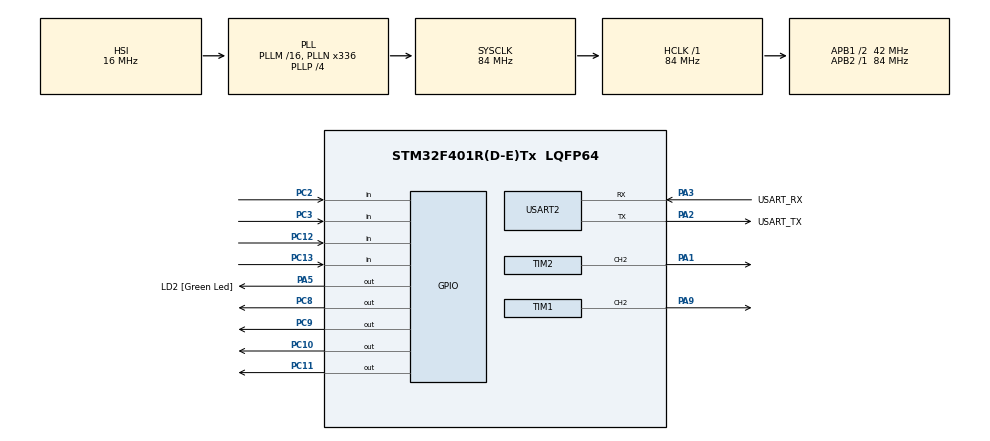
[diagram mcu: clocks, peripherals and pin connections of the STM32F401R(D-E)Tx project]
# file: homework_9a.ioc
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Mcu.Family=STM32F4
Mcu.Name=STM32F401R(D-E)Tx
Mcu.Package=LQFP64
NVIC.PriorityGroup=NVIC_PRIORITYGROUP_0
NVIC.TIM2_IRQn=true\:0\:0\:false\:false\:true\:true\:true\:true
PA1.Signal=S_TIM2_CH2
PA13.GPIO_Label=TMS
PA13.Mode=Serial_Wire
PA13.Signal=SYS_JTMS-SWDIO
PA14.GPIO_Label=TCK
PA14.Mode=Serial_Wire
PA14.Signal=SYS_JTCK-SWCLK
PA2.GPIO_Label=USART_TX
PA2.GPIO_Mode=GPIO_MODE_AF_PP
PA2.GPIO_PuPd=GPIO_NOPULL
PA2.GPIO_Speed=GPIO_SPEED_FREQ_LOW
PA2.Mode=Asynchronous
PA2.Signal=USART2_TX
PA3.GPIO_Label=USART_RX
PA3.GPIO_Mode=GPIO_MODE_AF_PP
PA3.GPIO_PuPd=GPIO_NOPULL
PA3.GPIO_Speed=GPIO_SPEED_FREQ_LOW
PA3.Mode=Asynchronous
PA3.Signal=USART2_RX
PA5.GPIO_Label=LD2 [Green Led]
PA5.GPIO_Mode=GPIO_MODE_OUTPUT_PP
PA5.GPIO_PuPd=GPIO_NOPULL
PA5.GPIO_Speed=GPIO_SPEED_FREQ_LOW
PA5.Signal=GPIO_Output
PA9.Signal=S_TIM1_CH2
PB3.GPIO_Label=SWO
PB3.Signal=SYS_JTDO-SWO
PC10.Signal=GPIO_Output
PC11.Signal=GPIO_Output
PC12.Signal=GPIO_Input
PC13-ANTI_TAMP.Signal=GPIO_Input
PC14-OSC32_IN.Mode=LSE-External-Oscillator
PC14-OSC32_IN.Signal=RCC_OSC32_IN
PC15-OSC32_OUT.Mode=LSE-External-Oscillator
PC15-OSC32_OUT.Signal=RCC_OSC32_OUT
PC2.Signal=GPIO_Input
PC3.Signal=GPIO_Input
PC8.Signal=GPIO_Output
PC9.Signal=GPIO_Output
PH0\ -\ OSC_IN.Mode=HSE-External-Clock-Source
PH0\ -\ OSC_IN.Signal=RCC_OSC_IN
PH1\ -\ OSC_OUT.Mode=HSE-External-Clock-Source
PH1\ -\ OSC_OUT.Signal=RCC_OSC_OUT
ProjectManager.HeapSize=0x200
ProjectManager.StackSize=0x400
ProjectManager.TargetToolchain=STM32CubeIDE
RCC.48MHZClocksFreq_Value=48000000
RCC.AHBFreq_Value=84000000
RCC.APB1CLKDivider=RCC_HCLK_DIV2
RCC.APB1Freq_Value=42000000
RCC.APB1TimFreq_Value=84000000
RCC.APB2Freq_Value=84000000
RCC.APB2TimFreq_Value=84000000
RCC.CortexFreq_Value=84000000
RCC.HCLKFreq_Value=84000000
RCC.HSE_VALUE=8000000
RCC.HSI_VALUE=16000000
RCC.PLLN=336
RCC.PLLP=RCC_PLLP_DIV4
RCC.PLLQ=7
RCC.SYSCLKFreq_VALUE=84000000
RCC.SYSCLKSource=RCC_SYSCLKSOURCE_PLLCLK
RCC.VCOOutputFreq_Value=336000000
SH.S_TIM1_CH2.0=TIM1_CH2,PWM Generation2 CH2
SH.S_TIM2_CH2.0=TIM2_CH2,PWM Generation2 CH2
TIM1.Channel-PWM\ Generation2\ CH2=TIM_CHANNEL_2
TIM2.Channel-PWM\ Generation2\ CH2=TIM_CHANNEL_2
TIM2.Period=9999
TIM2.Prescaler=8399
USART2.VirtualMode=VM_ASYNC
VP_TIM1_VS_ClockSourceINT.Mode=Internal
VP_TIM2_VS_ClockSourceINT.Mode=Internal
board=NUCLEO-F401RE

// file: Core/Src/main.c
/* USER CODE BEGIN Header */
/**
  ******************************************************************************
  * @file           : main.c
  * @brief          : Main program body
  ******************************************************************************
  * @attention
  *
  * Copyright (c) 2023 STMicroelectronics.
  * All rights reserved.
  *
  * This software is licensed under terms that can be found in the LICENSE file
  * in the root directory of this software component.
  * If no LICENSE file comes with this software, it is provided AS-IS.
  *
  ******************************************************************************
  */
/* USER CODE END Header */
#include "main.h"

/* USER CODE BEGIN PTD */
struct nota {
	int period;
	int pulse;
	int eights;
};
/* USER CODE END PTD */

/* USER CODE BEGIN PD */
#define PRESCALER_TIM1 100-1
#define PRESCALER_TIM2 84000-1

#define TIME_EIGHTS 100.0
/* USER CODE END PD */

/* USER CODE BEGIN PM */

#define DIM_ROWS 4
#define DIM_COLS 4
#define DIM_STRING 100

#define PE_DO4 3204
#define PE_DOD4 3032
#define PE_RE4 2857
#define PE_RED4 2700
#define PE_MI4 2545
#define PE_FA4 2406
#define PE_FAD4 2270
#define PE_SOL4 2142
#define PE_SOLD4 2024
#define PE_LA4 1909
#define PE_LAD4 1802
#define PE_SI4 1700
// pulses
#define PU_DO4 1603
#define PU_DOD4 1516
#define PU_RE4 1428
#define PU_RED4 1350
#define PU_MI4 1272
#define PU_FA4 1203
#define PU_FAD4 1135
#define PU_SOL4 1071
#define PU_SOLD4 1012
#define PU_LA4 954
#define PU_LAD4 901
#define PU_SI4 850

struct nota canzone[] = {
		{PE_SOL4,PU_SOL4,3}, {PE_LA4,PU_LA4, 1},
		{PE_SOL4,PU_SOL4,2}, {PE_FA4,PU_FA4, 2},

		{PE_MI4,PU_MI4, 2},  {PE_FA4,PU_FA4, 2},
		{PE_SOL4,PU_SOL4,4},

		{PE_RE4,PU_RE4,2}, {PE_MI4,PU_MI4,2},
		{PE_FA4,PU_FA4,4},

		{PE_MI4,PU_MI4,2}, {PE_FA4,PU_FA4,2},
		{PE_SOL4,PU_SOL4,4},

		{PE_SOL4,PU_SOL4,3}, {PE_LA4,PU_LA4, 1},
		{PE_SOL4,PU_SOL4,2}, {PE_FA4,PU_FA4, 2},

		{PE_MI4,PU_MI4, 2},  {PE_FA4,PU_FA4, 2},
		{PE_SOL4,PU_SOL4,4},

		{PE_RE4,PU_RE4,4}, {PE_SOL4,PU_SOL4,4},

		{PE_MI4,PU_MI4, 2},{PE_DO4,PU_DO4, 6},
};
// 5 V is the voltage at which the pull-up network brings the value of the
// row
#define DEBOUNCING_THRESHOLD 5
/* USER CODE END PM */

TIM_HandleTypeDef htim1;
TIM_HandleTypeDef htim2;

UART_HandleTypeDef huart2;

/* USER CODE BEGIN PV */

// relative to GPIO_C
int rows[DIM_ROWS] = {GPIO_PIN_12, GPIO_PIN_13,GPIO_PIN_2, GPIO_PIN_3, }; // to read from
// relative to GPIO_C
int cols[DIM_ROWS] = {GPIO_PIN_8,GPIO_PIN_9 , GPIO_PIN_10, GPIO_PIN_11}; // to write on

// out buffer
char str_buffer[DIM_STRING];
int str_buffer_len=0;

// History = 0: button not currently pressed since when I notice not pressed I set zero
// History > 1: button currently pressed since each time I press it I increment the value
uint16_t history[16];
/* USER CODE END PV */

void SystemClock_Config(void);
static void MX_GPIO_Init(void);
static void MX_USART2_UART_Init(void);
static void MX_TIM2_Init(void);
static void MX_TIM1_Init(void);
/* USER CODE BEGIN PFP */
int buttonValueFromRowColumn(int row, int column);
void scanButtons();
void printButtonNumber(int number);
/* USER CODE END PFP */

/* USER CODE BEGIN 0 */

void scanButtons(){
	uint16_t buttonState;
	for(int c=0; c<DIM_COLS; c++) {
		// Enable the column row
		HAL_GPIO_WritePin(GPIOC, cols[c], GPIO_PIN_SET);
		HAL_Delay(5);

		for(int r=0; r<DIM_ROWS; r++){
			// Read the row
			buttonState = HAL_GPIO_ReadPin(GPIOC, rows[r]);

			// Update history of each button (if I read a zero)
			if(buttonState==GPIO_PIN_RESET){
				history[buttonValueFromRowColumn(r, c)]++;
			} else {
				history[buttonValueFromRowColumn(r, c)] = 0;
			}

			// If button pressing history reached the DEBOUNCING_THRESHOLD, print its value
			if(history[buttonValueFromRowColumn(r, c)]==DEBOUNCING_THRESHOLD) {
				printButtonNumber(buttonValueFromRowColumn(r, c));
			}

			if(history[0] == DEBOUNCING_THRESHOLD){
				// -- SETUP NOTE --
				// Set AutoReload Register to the note period
				__HAL_TIM_SET_AUTORELOAD(&htim1,canzone[10].period);
				// Set CCR2 to the note pulse
				__HAL_TIM_SET_COMPARE(&htim1, TIM_CHANNEL_2, canzone[10].pulse);
				// Play the note: start PWM timer 1 on channel 2
				HAL_TIM_PWM_Start(&htim1, TIM_CHANNEL_2);
			} else if (history[3] == DEBOUNCING_THRESHOLD) {
				// -- SETUP NOTE --
				// Set AutoReload Register to the note period
				__HAL_TIM_SET_AUTORELOAD(&htim1,canzone[1].period);
				// Set CCR2 to the note pulse
				__HAL_TIM_SET_COMPARE(&htim1, TIM_CHANNEL_2, canzone[1].pulse);
				// Play the note: start PWM timer 1 on channel 2
				HAL_TIM_PWM_Start(&htim1, TIM_CHANNEL_2);
			} else if (history[12] == DEBOUNCING_THRESHOLD) {
				// -- SETUP NOTE --
				// Set AutoReload Register to the note period
				__HAL_TIM_SET_AUTORELOAD(&htim1,canzone[2].period);
				// Set CCR2 to the note pulse
				__HAL_TIM_SET_COMPARE(&htim1, TIM_CHANNEL_2, canzone[2].pulse);
				// Play the note: start PWM timer 1 on channel 2
				HAL_TIM_PWM_Start(&htim1, TIM_CHANNEL_2);
			} else if (history[15] == DEBOUNCING_THRESHOLD) {
				// -- SETUP NOTE --
				// Set AutoReload Register to the note period
				__HAL_TIM_SET_AUTORELOAD(&htim1,canzone[3].period);
				// Set CCR2 to the note pulse
				__HAL_TIM_SET_COMPARE(&htim1, TIM_CHANNEL_2, canzone[3].pulse);
				// Play the note: start PWM timer 1 on channel 2
				HAL_TIM_PWM_Start(&htim1, TIM_CHANNEL_2);
			} else if(history[buttonValueFromRowColumn(r, c)]==DEBOUNCING_THRESHOLD){
				if(HAL_GPIO_ReadPin(GPIOA, GPIO_PIN_5) == GPIO_PIN_RESET)
					HAL_GPIO_WritePin(GPIOA, GPIO_PIN_5, GPIO_PIN_SET);
				else
					HAL_GPIO_WritePin(GPIOA, GPIO_PIN_5, GPIO_PIN_RESET);
			}
		}

		// Disable the column row
		HAL_GPIO_WritePin(GPIOC, cols[c], GPIO_PIN_RESET);
	}
}

int buttonValueFromRowColumn(int row, int column) {
	// we want to number the buttons from the top row to the bottom one
	// and from the left column to the right one
	// (e.g. row 1, column 1 is equal to 1, then the one on the right
	// is the number 2 and so on).
	//
	// So, in order to convert row-column to the value we compute:
	// row*number_of_columns+column.
	return row*DIM_COLS+column;
}

void printButtonNumber(int number){
	// to print from 0 to F I print 0-15 in hex
	str_buffer_len = snprintf(str_buffer, DIM_STRING, "Button %X pressed\n\r", number);
	HAL_UART_Transmit(&huart2, str_buffer, str_buffer_len, 50);
}
/* USER CODE END 0 */

int main(void)
{

  /* MCU Configuration--------------------------------------------------------*/

  /* Reset of all peripherals, Initializes the Flash interface and the Systick. */
  HAL_Init();

  /* Configure the system clock */
  SystemClock_Config();

  /* Initialize all configured peripherals */
  MX_GPIO_Init();
  MX_USART2_UART_Init();
  MX_TIM2_Init();
  MX_TIM1_Init();
  /* USER CODE BEGIN 2 */
  __HAL_TIM_SET_PRESCALER(&htim1,PRESCALER_TIM1);
  /* USER CODE END 2 */

  /* Infinite loop */
  /* USER CODE BEGIN WHILE */
  while (1)
  {
	  scanButtons();
    /* USER CODE END WHILE */

  }
}

void SystemClock_Config(void)
{
  RCC_OscInitTypeDef RCC_OscInitStruct = {0};
  RCC_ClkInitTypeDef RCC_ClkInitStruct = {0};

  /** Configure the main internal regulator output voltage
  */
  __HAL_RCC_PWR_CLK_ENABLE();
  __HAL_PWR_VOLTAGESCALING_CONFIG(PWR_REGULATOR_VOLTAGE_SCALE2);

  /** Initializes the RCC Oscillators according to the specified parameters
  * in the RCC_OscInitTypeDef structure.
  */
  RCC_OscInitStruct.OscillatorType = RCC_OSCILLATORTYPE_HSI;
  RCC_OscInitStruct.HSIState = RCC_HSI_ON;
  RCC_OscInitStruct.HSICalibrationValue = RCC_HSICALIBRATION_DEFAULT;
  RCC_OscInitStruct.PLL.PLLState = RCC_PLL_ON;
  RCC_OscInitStruct.PLL.PLLSource = RCC_PLLSOURCE_HSI;
  RCC_OscInitStruct.PLL.PLLM = 16;
  RCC_OscInitStruct.PLL.PLLN = 336;
  RCC_OscInitStruct.PLL.PLLP = RCC_PLLP_DIV4;
  RCC_OscInitStruct.PLL.PLLQ = 7;
  if (HAL_RCC_OscConfig(&RCC_OscInitStruct) != HAL_OK)
  {
    Error_Handler();
  }

  /** Initializes the CPU, AHB and APB buses clocks
  */
  RCC_ClkInitStruct.ClockType = RCC_CLOCKTYPE_HCLK|RCC_CLOCKTYPE_SYSCLK
                              |RCC_CLOCKTYPE_PCLK1|RCC_CLOCKTYPE_PCLK2;
  RCC_ClkInitStruct.SYSCLKSource = RCC_SYSCLKSOURCE_PLLCLK;
  RCC_ClkInitStruct.AHBCLKDivider = RCC_SYSCLK_DIV1;
  RCC_ClkInitStruct.APB1CLKDivider = RCC_HCLK_DIV2;
  RCC_ClkInitStruct.APB2CLKDivider = RCC_HCLK_DIV1;

  if (HAL_RCC_ClockConfig(&RCC_ClkInitStruct, FLASH_LATENCY_2) != HAL_OK)
  {
    Error_Handler();
  }
}

static void MX_TIM1_Init(void)
{

  TIM_ClockConfigTypeDef sClockSourceConfig = {0};
  TIM_MasterConfigTypeDef sMasterConfig = {0};
  TIM_OC_InitTypeDef sConfigOC = {0};
  TIM_BreakDeadTimeConfigTypeDef sBreakDeadTimeConfig = {0};

  htim1.Instance = TIM1;
  htim1.Init.Prescaler = 0;
  htim1.Init.CounterMode = TIM_COUNTERMODE_UP;
  htim1.Init.Period = 65535;
  htim1.Init.ClockDivision = TIM_CLOCKDIVISION_DIV1;
  htim1.Init.RepetitionCounter = 0;
  htim1.Init.AutoReloadPreload = TIM_AUTORELOAD_PRELOAD_DISABLE;
  if (HAL_TIM_Base_Init(&htim1) != HAL_OK)
  {
    Error_Handler();
  }
  sClockSourceConfig.ClockSource = TIM_CLOCKSOURCE_INTERNAL;
  if (HAL_TIM_ConfigClockSource(&htim1, &sClockSourceConfig) != HAL_OK)
  {
    Error_Handler();
  }
  if (HAL_TIM_PWM_Init(&htim1) != HAL_OK)
  {
    Error_Handler();
  }
  sMasterConfig.MasterOutputTrigger = TIM_TRGO_RESET;
  sMasterConfig.MasterSlaveMode = TIM_MASTERSLAVEMODE_DISABLE;
  if (HAL_TIMEx_MasterConfigSynchronization(&htim1, &sMasterConfig) != HAL_OK)
  {
    Error_Handler();
  }
  sConfigOC.OCMode = TIM_OCMODE_PWM1;
  sConfigOC.Pulse = 0;
  sConfigOC.OCPolarity = TIM_OCPOLARITY_HIGH;
  sConfigOC.OCNPolarity = TIM_OCNPOLARITY_HIGH;
  sConfigOC.OCFastMode = TIM_OCFAST_DISABLE;
  sConfigOC.OCIdleState = TIM_OCIDLESTATE_RESET;
  sConfigOC.OCNIdleState = TIM_OCNIDLESTATE_RESET;
  if (HAL_TIM_PWM_ConfigChannel(&htim1, &sConfigOC, TIM_CHANNEL_2) != HAL_OK)
  {
    Error_Handler();
  }
  sBreakDeadTimeConfig.OffStateRunMode = TIM_OSSR_DISABLE;
  sBreakDeadTimeConfig.OffStateIDLEMode = TIM_OSSI_DISABLE;
  sBreakDeadTimeConfig.LockLevel = TIM_LOCKLEVEL_OFF;
  sBreakDeadTimeConfig.DeadTime = 0;
  sBreakDeadTimeConfig.BreakState = TIM_BREAK_DISABLE;
  sBreakDeadTimeConfig.BreakPolarity = TIM_BREAKPOLARITY_HIGH;
  sBreakDeadTimeConfig.AutomaticOutput = TIM_AUTOMATICOUTPUT_DISABLE;
  if (HAL_TIMEx_ConfigBreakDeadTime(&htim1, &sBreakDeadTimeConfig) != HAL_OK)
  {
    Error_Handler();
  }
  HAL_TIM_MspPostInit(&htim1);

}

static void MX_TIM2_Init(void)
{

  TIM_ClockConfigTypeDef sClockSourceConfig = {0};
  TIM_MasterConfigTypeDef sMasterConfig = {0};
  TIM_OC_InitTypeDef sConfigOC = {0};

  htim2.Instance = TIM2;
  htim2.Init.Prescaler = 8399;
  htim2.Init.CounterMode = TIM_COUNTERMODE_UP;
  htim2.Init.Period = 9999;
  htim2.Init.ClockDivision = TIM_CLOCKDIVISION_DIV1;
  htim2.Init.AutoReloadPreload = TIM_AUTORELOAD_PRELOAD_DISABLE;
  if (HAL_TIM_Base_Init(&htim2) != HAL_OK)
  {
    Error_Handler();
  }
  sClockSourceConfig.ClockSource = TIM_CLOCKSOURCE_INTERNAL;
  if (HAL_TIM_ConfigClockSource(&htim2, &sClockSourceConfig) != HAL_OK)
  {
    Error_Handler();
  }
  if (HAL_TIM_PWM_Init(&htim2) != HAL_OK)
  {
    Error_Handler();
  }
  sMasterConfig.MasterOutputTrigger = TIM_TRGO_RESET;
  sMasterConfig.MasterSlaveMode = TIM_MASTERSLAVEMODE_DISABLE;
  if (HAL_TIMEx_MasterConfigSynchronization(&htim2, &sMasterConfig) != HAL_OK)
  {
    Error_Handler();
  }
  sConfigOC.OCMode = TIM_OCMODE_PWM1;
  sConfigOC.Pulse = 0;
  sConfigOC.OCPolarity = TIM_OCPOLARITY_HIGH;
  sConfigOC.OCFastMode = TIM_OCFAST_DISABLE;
  if (HAL_TIM_PWM_ConfigChannel(&htim2, &sConfigOC, TIM_CHANNEL_2) != HAL_OK)
  {
    Error_Handler();
  }
  HAL_TIM_MspPostInit(&htim2);

}

static void MX_USART2_UART_Init(void)
{

  huart2.Instance = USART2;
  huart2.Init.BaudRate = 115200;
  huart2.Init.WordLength = UART_WORDLENGTH_8B;
  huart2.Init.StopBits = UART_STOPBITS_1;
  huart2.Init.Parity = UART_PARITY_NONE;
  huart2.Init.Mode = UART_MODE_TX_RX;
  huart2.Init.HwFlowCtl = UART_HWCONTROL_NONE;
  huart2.Init.OverSampling = UART_OVERSAMPLING_16;
  if (HAL_UART_Init(&huart2) != HAL_OK)
  {
    Error_Handler();
  }

}

static void MX_GPIO_Init(void)
{
  GPIO_InitTypeDef GPIO_InitStruct = {0};

  /* GPIO Ports Clock Enable */
  __HAL_RCC_GPIOC_CLK_ENABLE();
  __HAL_RCC_GPIOH_CLK_ENABLE();
  __HAL_RCC_GPIOA_CLK_ENABLE();
  __HAL_RCC_GPIOB_CLK_ENABLE();

  /*Configure GPIO pin Output Level */
  HAL_GPIO_WritePin(LD2_GPIO_Port, LD2_Pin, GPIO_PIN_RESET);

  /*Configure GPIO pin Output Level */
  HAL_GPIO_WritePin(GPIOC, GPIO_PIN_8|GPIO_PIN_9|GPIO_PIN_10|GPIO_PIN_11, GPIO_PIN_RESET);

  /*Configure GPIO pins : PC13 PC2 PC3 PC12 */
  GPIO_InitStruct.Pin = GPIO_PIN_13|GPIO_PIN_2|GPIO_PIN_3|GPIO_PIN_12;
  GPIO_InitStruct.Mode = GPIO_MODE_INPUT;
  GPIO_InitStruct.Pull = GPIO_NOPULL;
  HAL_GPIO_Init(GPIOC, &GPIO_InitStruct);

  /*Configure GPIO pin : LD2_Pin */
  GPIO_InitStruct.Pin = LD2_Pin;
  GPIO_InitStruct.Mode = GPIO_MODE_OUTPUT_PP;
  GPIO_InitStruct.Pull = GPIO_NOPULL;
  GPIO_InitStruct.Speed = GPIO_SPEED_FREQ_LOW;
  HAL_GPIO_Init(LD2_GPIO_Port, &GPIO_InitStruct);

  /*Configure GPIO pins : PC8 PC9 PC10 PC11 */
  GPIO_InitStruct.Pin = GPIO_PIN_8|GPIO_PIN_9|GPIO_PIN_10|GPIO_PIN_11;
  GPIO_InitStruct.Mode = GPIO_MODE_OUTPUT_PP;
  GPIO_InitStruct.Pull = GPIO_NOPULL;
  GPIO_InitStruct.Speed = GPIO_SPEED_FREQ_LOW;
  HAL_GPIO_Init(GPIOC, &GPIO_InitStruct);

}

void Error_Handler(void)
{
  __disable_irq();
  while (1)
  {
  }
}
